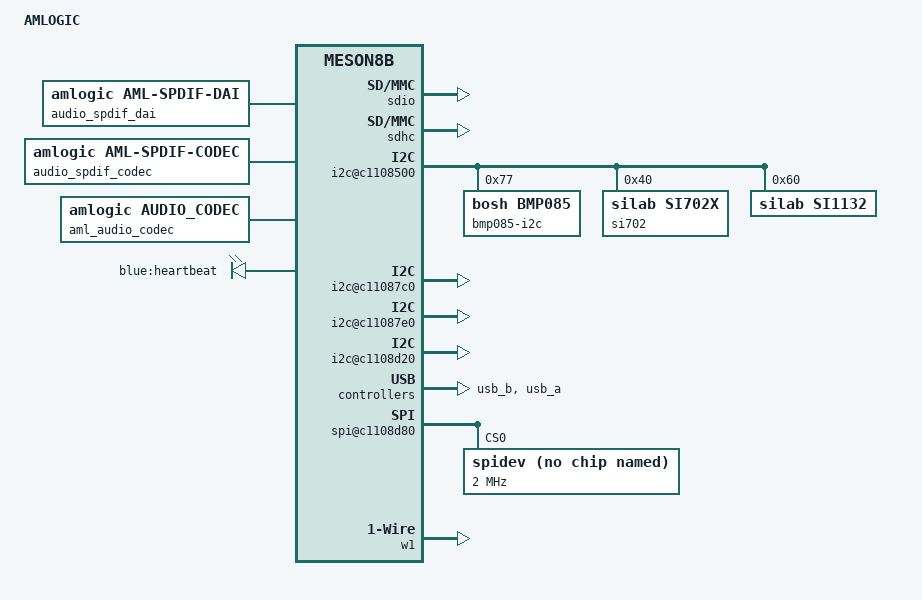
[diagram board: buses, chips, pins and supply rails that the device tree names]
/*
 * (C) Copyright 2014 Hardkernel Co,.Ltd
 *
 * See file CREDITS for list of people who contributed to this
 * project.
 *
 * This program is free software; you can redistribute it and/or
 * modify it under the terms of the GNU General Public License as
 * published by the Free Software Foundation; either version 2 of
 * the License, or (at your option) any later version.
 *
 * This program is distributed in the hope that it will be useful,
 * but WITHOUT ANY WARRANTY; without even the implied warranty of
 * MERCHANTABILITY or FITNESS FOR A PARTICULAR PURPOSE.  See the
 * GNU General Public License for more details.
 *
 * You should have received a copy of the GNU General Public License
 * along with this program; if not, write to the Free Software
 * Foundation, Inc., 59 Temple Place, Suite 330, Boston,
 * MA 02111-1307 USA
 */
/dts-v1/;
/{
    compatible = "AMLOGIC,8726_M8B";
    model = "AMLOGIC";
    interrupt-parent = <&gic>;
    #address-cells = <1>;
    #size-cells = <1>;

    cpus {
        #address-cells = <1>;
        #size-cells = <0>;
        cpu@0 {
            device_type = "cpu";
            compatible = "arm,cortex-a5";
            reg = <0x200>;
        };
        cpu@1 {
            device_type = "cpu";
            compatible = "arm,cortex-a5";
            reg = <0x1>;
        };
        cpu@2 {
            device_type = "cpu";
            compatible = "arm,cortex-a5";
            reg = <0x2>;
        };
        cpu@3 {
            device_type = "cpu";
            compatible = "arm,cortex-a5";
            reg = <0x3>;
        };
    };

    cache-controller {
        compatible = "arm,meson-pl310-cache";
        reg = <0xc4200000 0x1000>;
        arm,data-latency = <3 3 3>;
        arm,tag-latency = <2 2 2>;
        arm,filter-ranges = <0x100000 0xc0000000>;
        cache-unified;
        cache-level = <2>;
        aux-instruction_prefetch;
        aux-data_prefetch;
        aux-ns_lockdown;
        aux-force_no_write_alloc;
        aux-cache_replace_policy_round_robin;
        aux-early_write_response;
        aux-full_line_of_zero;
        aux-ns_int_ctrl;
        aux-share_override;
        prefetch-double_line_fill;
        prefetch-prefetch_drop;
        prefetch-prefetch_offset = <7>;
    };

    memory {
        device_type = "memory";
        aml_reserved_start = <0x06000000>;
        aml_reserved_end = <0x05000000>;
        phys_offset = <0x00200000>;
        linux,total-memory = <0x3fe00000>;
        #address-cells = <1>;
        #size-cells = <1>;

        cma_0:region@0 {
          region_name = "cma_0";
          reg = <0 0x02a00000>;
          linux,contiguous-region;
        };
    };

    gic:interrupt-controller {
        compatible = "arm,cortex-a9-gic";
        reg = <0xc4301000 0x1000
               0xc4300100 0x0100>;
        interrupt-controller;
        #interrupt-cells = <3>;
        #address-cells = <0>;
    };

    vpu {
        compatible = "amlogic,vpu";
        dev_name = "vpu";
        status = "ok";
        clk_level = <3>;
    };

    mesonfb {
        compatible = "amlogic,mesonfb";
        dev_name = "mesonfb";
        status = "okay";
        reserve-memory = <0x01800000 0x00100000>;
        reserve-iomap = "true";
        vmode = <3>;
        scale_mode = <1>;
        4k2k_fb = <0>;
        display_size_default = <1920 1080 1920 3240 32>;
    };

    deinterlace {
        compatible = "amlogic,deinterlace";
        dev_name = "deinterlace";
        status = "ok";
        reserve-memory = <0x02100000>;  //10x1920x1088x3/2=33M
    };

    mesonstream {
        compatible = "amlogic,mesonstream";
        dev_name = "mesonstream.0";
        status = "okay";
        reserve-memory = <0x02000000>; // 32M
        reserve-iomap = "true";
    };

    vdec {
        compatible = "amlogic,vdec";
        dev_name = "vdec.0";
        status = "okay";
        reserve-memory = <0x04000000>; // 64M
        reserve-iomap = "true";
    };

    ppmgr {
        compatible = "amlogic,ppmgr";
        dev_name = "ppmgr";
        status = "okay";
        reserve-memory = <0x01000000>; // 16M
    };

    amvenc_avc {
        compatible = "amlogic,amvenc_avc";
        dev_name = "amvenc_avc.0";
        status = "okay";
        linux,contiguous-region = <&cma_0>;
        reserve-iomap = "true";
    };

    ion_dev {
        compatible = "amlogic,ion_dev";
        dev_name = "ion_dev";
        status = "ok";
        share-memory-name = "ppmgr0";
        share-memory-offset = <0>;
        share-memory-size = <0x01000000>; //16M
    };

    mesonvout {
        compatible = "amlogic,mesonvout";
        dev_name = "mesonvout";
        status = "okay";
    };

    rtc {
        compatible = "amlogic,aml_rtc";
        status = "okay";
    };

    uart_ao {
        compatible = "amlogic,aml_uart";
        port_name = "uart_ao";
        status = "okay";
        dev_name = "uart_ao";
        pinctrl-names = "default";
        pinctrl-0 = <&ao_uart_pins>;
    };

    uart_1 {
        compatible = "amlogic,aml_uart";
        port_name = "uart_b";
        status = "okay";
        dev_name = "uart_1";
        pinctrl-names = "default";
        pinctrl-0 = <&b_uart_pins>;
    };

    sdio {
        compatible = "amlogic,aml_sdio";
        dev_name = "aml_sdio.0";
        status = "okay";
        reg = <0xc1108c20 0x20>;
        pinctrl-names = "sd_clk_cmd_pins",
                        "sd_all_pins",
                        "emmc_clk_cmd_pins",
                        "emmc_all_pins",
                        "sdio_clk_cmd_pins",
                        "sdio_all_pins",
                        "sd_1bit_pins";
        pinctrl-0 = <&sd_clk_cmd_pins>;
        pinctrl-1 = <&sd_all_pins>;
        pinctrl-2 = <&emmc_clk_cmd_pins>;
        pinctrl-3 = <&emmc_all_pins>;
        pinctrl-4 = <&sdio_clk_cmd_pins>;
        pinctrl-5 = <&sdio_all_pins>;
        pinctrl-6 = <&sd_1bit_pins>;

        emmc {
            status = "okay";
            port = <2>;
            pinname = "emmc";
            ocr_avail = <0x200000>;
            caps = "MMC_CAP_4_BIT_DATA",
                   "MMC_CAP_MMC_HIGHSPEED",
                   "MMC_CAP_SD_HIGHSPEED",
                   "MMC_CAP_NONREMOVABLE",
                   "MMC_CAP_ERASE",
                   "MMC_CAP_HW_RESET";
            caps2 = "MMC_CAP2_BOOTPART_NOACC";
            f_min = <300000>;
            f_max = <50000000>;
            f_max_w = <50000000>;
            max_req_size = <0x20000>;   /* 128KB */
            gpio_dat3 = "BOOT_3";
            card_type = <1>;
        };

        sd {
            status = "okay";
            port = <1>;
            pinname = "sd";
            ocr_avail = <0x200000>;
            caps = "MMC_CAP_4_BIT_DATA",
                   "MMC_CAP_MMC_HIGHSPEED",
                   "MMC_CAP_SD_HIGHSPEED";
            f_min = <300000>;
            f_max = <50000000>;
            f_max_w = <50000000>;
            max_req_size = <0x20000>;   /* 128KB */
            gpio_dat3 = "CARD_4";
            gpio_cd = "CARD_6";
            gpio_volsw = "GPIOAO_3";
            irq_in = <3>;
            irq_out = <5>;
            card_type = <5>;
        };
    };

    sdhc {
        compatible = "amlogic,aml_sdhc";
        dev_name = "aml_sdhc.0";
        status = "okay";
        reg = <0xc1108e00 0x3c>;
        pinctrl-names = "sdhc_sd_clk_cmd_pins",
                        "sdhc_sd_all_pins",
                        "sdhc_emmc_clk_cmd_pins",
                        "sdhc_emmc_all_pins",
                        "sdhc_sdio_clk_cmd_pins",
                        "sdhc_sdio_all_pins";
        pinctrl-0 = <&sdhc_sd_clk_cmd_pins>;
        pinctrl-1 = <&sdhc_sd_all_pins>;
        pinctrl-2 = <&sdhc_emmc_clk_cmd_pins>;
        pinctrl-3 = <&sdhc_emmc_all_pins>;
        pinctrl-4 = <&sdhc_sdio_clk_cmd_pins>;
        pinctrl-5 = <&sdhc_sdio_all_pins>;

        sd {
            status = "okay";
            port = <4>;
            pinname = "sd";
            ocr_avail = <0x00200080>;
            caps = "MMC_CAP_4_BIT_DATA",
                   "MMC_CAP_MMC_HIGHSPEED",
                   "MMC_CAP_SD_HIGHSPEED",
                   "MMC_CAP_UHS_SDR12",
                   "MMC_CAP_UHS_SDR25",
                   "MMC_CAP_UHS_SDR50",
                   "MMC_CAP_UHS_SDR104";
            f_min = <300000>;
            f_max = <100000000>;
            max_req_size = <0x20000>;   /* 128KB */
            gpio_dat3 = "CARD_4";
            gpio_cd = "CARD_6";
            gpio_volsw = "GPIOAO_3";
            irq_in = <3>;
            irq_out = <5>;
            card_type = <5>;
        };

        emmc {
            status = "okay";
            port = <5>;
            pinname = "emmc";
            ocr_avail = <0x200000>;
            caps = "MMC_CAP_8_BIT_DATA",
                   "MMC_CAP_MMC_HIGHSPEED",
                   "MMC_CAP_SD_HIGHSPEED",
                   "MMC_CAP_NONREMOVABLE",
                   "MMC_CAP_ERASE",
                   "MMC_CAP_HW_RESET";
            caps2 = "MMC_CAP2_HS200_1_8V_SDR", "MMC_CAP2_BOOTPART_NOACC";
            f_min = <300000>;
            f_max = <150000000>;
            max_req_size = <0x20000>;   /* 128KB */
            gpio_dat3 = "BOOT_3";
            card_type = <1>;
        };
    };

    i2c@c1108500{
        compatible = "amlogic,aml_i2c";
        #address-cells = <1>;
        #size-cells = <0>;
        dev_name = "i2c-A";
        status = "ok";
        reg = <0xc1108500 0x20>;
        device_id = <1>;
        pinctrl-names="default";
        pinctrl-0 = <&a_i2c_master>;
        use_pio = <0>;
        master_i2c_speed = <100000>;

        bmp085-i2c@77 {
            compatible = "bosh,bmp085";
            reg = <0x77>;
        };

        si702@40 {
            compatible = "silab,si702x";
            reg = <0x40>;
        };

        si1132@60 {
            compatible = "silab,si1132";
            reg = <0x60>;
        };

    };

    i2c@c11087c0{
        compatible = "amlogic,aml_i2c";
        #address-cells = <1>;
        #size-cells = <0>;
        dev_name = "i2c-B";
        status = "ok";
        reg = <0xc11087c0 0x20>;
        device_id = <2>;
        pinctrl-names="default";
        pinctrl-0 = <&b_i2c_master>;
        use_pio = <0>;
        master_i2c_speed = <100000>;
    };

    i2c@c11087e0{
        compatible = "amlogic,aml_i2c";
        #address-cells = <1>;
        #size-cells = <0>;
        dev_name = "i2c-C";
        status = "ok";
        reg = <0xc11087e0 0x20>;
        device_id = <3>;
        pinctrl-names="default";
        //              pinctrl-0 = <&c_i2c_master>;
        use_pio = <0>;
        master_i2c_speed = <300000>;
    };

    i2c@c1108d20{
        compatible = "amlogic,aml_i2c";
        #address-cells = <1>;
        #size-cells = <0>;
        dev_name = "i2c-D";
        status = "ok";
        reg = <0xc1108d20 0x20>;
        device_id = <4>;
        pinctrl-names="default";
        //              pinctrl-0 = <&d_i2c_master>;
        use_pio = <0>;
        master_i2c_speed = <300000>;
    };

    dvfs {
        compatible = "amlogic, amlogic-dvfs";
        #address-cells = <1>;
        #size-cells = <0>;
        status = "ok";

        vcck_dvfs {
            dvfs_id = <1>;
            table_count = <15>;
            change-frequent-only;
            /* NOTE: frequent in this table must be ascending order */
            /*             frequent(Khz)    min_uV      max_uV  */
            dvfs_table  = < 96000           825000      825000
                            192000          825000      825000
                            312000          825000      825000
                            408000          825000      825000
                            504000          825000      825000
                            600000          825000      825000
                            720000          825000      825000
                            816000          850000      850000
                           1008000          875000      875000
                           1200000          925000      925000
                           1320000         1100000     1100000
                           1488000         1100000     1100000
                           1536000         1140000     1140000
                           1632000         1150000     1150000
                           1728000         1160000     1160000 >;
        };
    };

    arm_pmu {
        compatible = "arm,cortex-a9-pmu";
        status = "ok";
        interrupts = < 0 137 0x04
                       0 138 0x04
                       0 153 0x04
                       0 154 0x04 >;
    };


    usb_con {
        lm-compatible = "logicmodule-bus";

        usb_b {
            lm-compatible = "amlogic,usb";
            lm-periph-id = <1>;
            clock-src = "usb1";
            port-id = <1>;
            port-type = <1>;
            port-speed = <0>;
            port-config = <0>;
            port-dma = <0>;
            port-id-mode = <1>;
            gpio-hub-rst = "GPIOAO_4";
            status = "okay";
        };

        usb_a {
            lm-compatible = "amlogic,usb";
            lm-periph-id = <0>;
            clock-src = "usb0";
            port-id = <0>;
            port-type = <0>;
            port-speed = <0>;
            port-config = <0>;
            port-dma = <0>;
            port-id-mode = <0>;
            gpio-vbus-power = "GPIOAO_5";
            gpio-work-mask  = <1>;
            status = "okay";
        };
    };

    audio_platform {
        compatible = "amlogic,aml-i2s";
        dev_name = "aml-i2s.0";
        status = "okay";
    };

    audio_dai {
        compatible = "amlogic,aml-i2s-dai";
        dev_name = "aml-i2s-dai.0";
        status = "okay";
    };

    audio_spdif_dai {
        compatible = "amlogic,aml-spdif-dai";
        dev_name = "aml-spdif-dai.0";
        status = "okay";
    };

    audio_spdif_codec {
        compatible = "amlogic,aml-spdif-codec";
        dev_name = "spdif-dit.0";
        pinctrl-names = "aml_audio_spdif";
        status = "okay";
    };

    audio_pcm_dai {
        compatible = "amlogic,aml-pcm-dai";
        dev_name = "aml-pcm-dai.0";
        status = "okay";
    };

    audio_pcm {
        compatible = "amlogic,aml-pcm";
        dev_name = "aml-pcm.0";
        status = "okay";
    };

    dummy_codec {
        compatible = "amlogic,aml_dummy_codec";
        dev_name = "dummy_codec.0";
        status = "okay";
    };

    aml_audio_codec {
        compatible = "amlogic,audio_codec";
        dummy:dummy {
            codec_name = "dummy_codec";
            status = "okay";
        };
    };

    aml_m8_sound_card {
        compatible = "sound_card, aml_snd_m8";
        aml,sound_card = "AML-M8AUDIO";
        aml,codec_dai = "AML-M8", "dummy_codec";
        aml,audio-routing-amlm8 = "Ext Spk", "LINEOUTL",
                                "Ext Spk", "LINEOUTR",
                                "HP", "HP_L",
                                "HP", "HP_R";
        aml,audio-routing-dummy= "Ext Spk", "LOUTL",
                                "Ext Spk", "LOUTR";
        sleep_time = <130>;
        pinctrl-names = "aml_snd_m8";
        pinctrl-0 = <&audio_pins>;
        status = "okay";
    };

    saradc {
        compatible = "amlogic,saradc";
        status = "okay";
    };

    spi@c1108d80 {
        #address-cells = <1>;
        #size-cells = <0>;
        compatible = "amlogic,spicc";
        dev_name = "spicc";
        status = "okay";
        reg = <0xc1108d80 0x28>;
        pinctrl-names="default";
        pinctrl-0=<&aml_spicc_pins>;
        device_id = <0>;
        num_chipselect = <2>;
        cs_gpios = "GPIOX_20", "GPIOX_21";

        spidev@0 {
            spi-max-frequency = <2000000>;
            compatible = "spidev";
            reg = <0>;
        };
    };

    meson-remote{
        compatible = "amlogic,aml_remote";
        dev_name = "meson-remote";
        status = "ok";
        ao_baseaddr = <0xf3100480>;
        pinctrl-names="default";
        pinctrl-0 = <&remote_pins>;
    };

    efuse{
        compatible = "amlogic,efuse";
        dev_name = "efuse";
        status = "okay";
        plat-pos = <0 454>;
        plat-count = <58>;
        usid-min = <8>;
        usid-max = <31>;
    };

    thermal{
        compatible = "amlogic-thermal";
        #thermal-cells = <7>;
        dev_name = "aml_thermal";
        trip_point = <70 1488001 1488001 511 511 3 2
                      80 1200001 1200001 435 435 2 2
                      90  800001  800001 328 328 1 1
                     110 0xffffffff 0xffffffff 0xffffffff 0xffffffff 0xffffffff 0xffffffff>;
        cpu_cali_a = <0>;
        idle_interval = <1000>;
        use_virtual_thermal;
        freq_sample_period = <30>;
        report_time = <1 10 30 60>;
        cpu_virtual = <500000 40 40 40 40
                       600000 45 55 60 65
                       800000 50 60 65 70
                      1000000 55 65 70 75
                      1200000 60 70 75 80
                      1350000 65 75 80 85 >;
        gpu_virtual = <183 40 40 40 40
                       251 40 45 50 55
                       319 50 60 65 70
                       426 55 65 70 75
                       511 60 70 75 80 >;
    };

    amhdmitx{
        compatible = "amlogic,amhdmitx";
        dev_name = "amhdmitx";
        status = "ok";
        vend-data = <&vend_data>;
        pwr-ctrl = <&pwr_ctrl>;

        vend_data: vend_data{
               vendor_name = "Hardkernel";
               vendor_id = <0x000000>;
               product_desc = "ODROID-C1";
               cec_osd_string = "ODROID";
               cec_config = <0x00000f>;
               ao_cec = <0x000001>;
        };

        pwr_ctrl: pwr_ctrl{
              pwr_5v_on = "";
              pwr_5v_off = "";
              pwr_3v3_on = "";
              pwr_3v3_off = "";
              pwr_hpll_vdd_on = "";
              pwr_hpll_vdd_off = "";
        };
    };

    aml_pm{
        compatible = "amlogic,pm-m8";
        dev_name = "aml_pm_m8";
        status = "okay";
    };

    cpufreq-meson{
        compatible = "amlogic,cpufreq-meson";
        syspll_fixed;
        status = "okay";
    };

    gpio:gpio{
        compatible = "amlogic,m8b-gpio";
        #gpio-cells = <2>;
        dev_name = "gpio";
    };

    pinmux{
        compatible = "amlogic,pinmux-m8b";
        #pinmux-cells = <2>;
        dev_name = "pinmux";

        ao_uart_pins:ao_uart{
            amlogic,setmask = <10 0x1800>;
            amlogic,pins="GPIOAO_0", "GPIOAO_1";
            amlogic,pullup=<1>;
            amlogic,pullupen=<1>;
        };

        b_uart_pins:b_uart{
            amlogic,setmask = <4 0x0300>;
            amlogic,pins="GPIOX_16", "GPIOX_17";
        };

        nand_input_state:nand_input {
            amlogic,pins = "BOOT_0", "BOOT_1", "BOOT_2", "BOOT_3",
                           "BOOT_4", "BOOT_5", "BOOT_6", "BOOT_7",
                           "BOOT_12", "BOOT_13", "BOOT_8", "BOOT_9",
                           "BOOT_10", "BOOT_11", "BOOT_14", "BOOT_15",
                           "BOOT_16", "BOOT_17";
            amlogic,enable-output = <1>;
        };

        conf_nand_state: conf_nand {
            amlogic,pins = "BOOT_0", "BOOT_1", "BOOT_2", "BOOT_3",
                           "BOOT_4", "BOOT_5", "BOOT_6", "BOOT_7",
                           "BOOT_15";
            amlogic,pullup = <0>;
        };

        nand_base: nand {
            amlogic,setmask = <2 0x07fe0000>;
            amlogic,clrmask = <5 0x0000000e
                               6 0x3f000000
                               4 0x7c000000>;
            amlogic,pins = "BOOT_0", "BOOT_1", "BOOT_2", "BOOT_3",
                           "BOOT_4", "BOOT_5", "BOOT_6", "BOOT_7",
                           "BOOT_8", "BOOT_9", "BOOT_10", "BOOT_12",
                           "BOOT_13", "BOOT_14", "BOOT_15", "BOOT_16",
                           "BOOT_17";
        };

        sdhc_b_pins:sdhc_b_pin {
            amlogic,setmask = <2 0x0000fc00>;
            amlogic,clrmask = <2 0x000000f0
                               8 0x00000600>;
            amlogic,pins = "CARD_0", "CARD_1", "CARD_2", "CARD_3",
                           "CARD_4", "CARD_5";
        };

        sdhc_c_pins:sdhc_c_pin {
            amlogic,setmask = <6 0x3f000000>;
            amlogic,clrmask = <4 0x6c000000
                               2 0x4c00000>;
            amlogic,pins = "BOOT_0", "BOOT_1", "BOOT_2", "BOOT_3",
                           "BOOT_10", "BOOT_11";
        };

        sdhc_a_pins:sdhc_a_pin {
            amlogic,setmask = <8 0x0000003f>;
            amlogic,clrmask = <5 0x00006c00 >;
            amlogic,pins = "GPIOX_0", "GPIOX_1", "GPIOX_2", "GPIOX_3",
                           "GPIOX_8", "GPIOX_9";
        };

        sdio_all_pins:sdio_all_pins {
            amlogic,setmask = <8 0x0000003f>;
            amlogic,clrmask = <6 0x3f000000
                               2 0x0000fc00
                               5 0x00006c00>;
            amlogic,pins = "GPIOX_0", "GPIOX_1", "GPIOX_2", "GPIOX_3",
                           "GPIOX_8", "GPIOX_9";
            amlogic,enable-output = <1>; /** 0:output, 1:input */
            amlogic,pullup = <1>;
            amlogic,pullupen = <1>;
        };

        sdio_clk_cmd_pins:sdio_clk_cmd_pins {
            amlogic,setmask = <8 0x00000003>;
            amlogic,clrmask = <6 0x3f000000
                               2 0x0000fc00
                               5 0x00006c00>;
            amlogic,pins = "GPIOX_8", "GPIOX_9";
            amlogic,enable-output = <1>;
            amlogic,pullup = <1>;
            amlogic,pullupen = <1>;
        };

        sd_all_pins:sd_all_pins {
            amlogic,setmask = <2 0x0000fc00>;
            amlogic,clrmask = <6 0x3f000000
                               8 0x0000063f
                               2 0x000000f0>;
            amlogic,pins = "CARD_0", "CARD_1", "CARD_2", "CARD_3",
                           "CARD_4", "CARD_5";
            amlogic,enable-output = <1>; /* 0:output, 1:input */
            amlogic,pullup = <1>;
            amlogic,pullupen = <1>;
        };

        sd_1bit_pins:sd_1bit_pins {
            amlogic,setmask = <2 0x00008c00>;
            amlogic,clrmask = <6 0x3f000000
                               8 0x0000003f
                               2 0x000000f0>;
            amlogic,pins = "CARD_0", "CARD_1", "CARD_2", "CARD_3",
                           "CARD_4", "CARD_5";
            amlogic,enable-output = <1>; /* 0:output, 1:input */
            amlogic,pullup = <1>;
            amlogic,pullupen = <1>;
        };

        sd_clk_cmd_pins:sd_clk_cmd_pins {
            amlogic,setmask = <2 0x00000c00>;
            amlogic,clrmask = <6 0x3f000000
                               8 0x0000003f
                               2 0x000000f0>;
            amlogic,pins = "CARD_2", "CARD_3";
            amlogic,enable-output = <1>;
            amlogic,pullup = <1>;
            amlogic,pullupen = <1>;
        };

        emmc_all_pins:emmc_all_pins {
            amlogic,setmask = <6 0xfc000000>;
            amlogic,clrmask = <2 0x06c2fc00
                               8 0x0000003f
                               4 0x6c000000>;
            amlogic,pins = "BOOT_0", "BOOT_1", "BOOT_2", "BOOT_3",
                           "BOOT_8", "BOOT_10";
            amlogic,enable-output = <1>; /** 0:output, 1:input */
            amlogic,pullup = <1>;
            amlogic,pullupen = <1>;
        };

        emmc_clk_cmd_pins:emmc_clk_cmd_pins {
            amlogic,setmask = <6 0xc0000000>;
            amlogic,clrmask = <2 0x06c2fc00
                               8 0x0000003f
                               7 0x000c0000>;
            amlogic,pins = "BOOT_8", "BOOT_10";
            amlogic,enable-output = <1>;
            amlogic,pullup = <1>;
            amlogic,pullupen = <1>;
        };

        sdhc_sd_clk_cmd_pins:sdhc_sd_clk_cmd_pins {
            amlogic,setmask = <2 0x00000030>;
            amlogic,clrmask = <5 0x00007c00
                               4 0x7c000000
                               2 0x0000fc00
                               8 0x00000600>;
            amlogic,pins = "CARD_2", "CARD_3";
            amlogic,enable-output = <1>;
            amlogic,pullup = <1>;
            amlogic,pullupen = <1>;
        };

        sdhc_sd_all_pins:sdhc_sd_all_pins {
            amlogic,setmask = <2 0x000000f0>;
            amlogic,clrmask = <5 0x00007c00
                               4 0x7c000000
                               2 0x0000fc00
                               8 0x00000600>;
            amlogic,pins="CARD_0", "CARD_1", "CARD_2", "CARD_3",
                         "CARD_4", "CARD_5";
            amlogic,enable-output = <1>;
            amlogic,pullup = <1>;
            amlogic,pullupen = <1>;
        };

        sdhc_emmc_clk_cmd_pins:sdhc_emmc_clk_cmd_pins {
            amlogic,setmask = <7 0xc0000>;
            amlogic,clrmask = <2 0x04c000f0
                               5 0x00007c00
                               6 0xff000000>;
            amlogic,pins = "BOOT_8", "BOOT_10";
            amlogic,enable-output = <1>;
            amlogic,pullup = <1>;
            amlogic,pullupen = <1>;
        };

        sdhc_emmc_all_pins:sdhc_emmc_all_pins {
            amlogic,setmask = <4 0x70000000
                               7 0xc0000>;
            amlogic,clrmask = <2 0x04c000f0
                               5 0x00007c00
                               6 0xff000000>;
            amlogic,pins = "BOOT_0", "BOOT_1", "BOOT_2", "BOOT_3",
                           "BOOT_4", "BOOT_5", "BOOT_6", "BOOT_7",
                           "BOOT_8", "BOOT_10";
            amlogic,enable-output = <1>; /** 0:output, 1:input */
            amlogic,pullup = <1>;
            amlogic,pullupen = <1>;
        };

        sdhc_sdio_clk_cmd_pins:sdhc_sdio_clk_cmd_pins {
            amlogic,setmask = <5 0x00000c00>;
            amlogic,clrmask = <2 0x058000f0
                               4 0x7c000000
                               8 0x0000003f>;
            amlogic,pins = "GPIOX_8", "GPIOX_9";
            amlogic,enable-output = <1>; /** 0:output, 1:input */
            amlogic,pullup = <1>;
            amlogic,pullupen = <1>;
        };

        sdhc_sdio_all_pins:sdhc_sdio_all_pins {
            amlogic,setmask = <5 0x00006c00>;
            amlogic,clrmask = <2 0x058000f0
                               4 0x7c000000
                               8 0x0000003f>;
            amlogic,pins = "GPIOX_0", "GPIOX_1", "GPIOX_2", "GPIOX_3",
                           "GPIOX_8", "GPIOX_9";
            amlogic,enable-output = <1>; /** 0:output, 1:input */
            amlogic,pullup = <1>;
            amlogic,pullupen = <1>;
        };

        ao_i2c_master:ao_i2c {
            amlogic,setmask = <10 0x60>;
            amlogic,clrmask = <10 0x1800006>;
            amlogic,pins="GPIOAO_4", "GPIOAO_5";
        };

        a_i2c_master:a_i2c {
            amlogic,setmask = <9 0xC0000000>;
            amlogic,clrmask = <0 0x3C0300
                     6 0xC00000
                     8 0x1800000>;
            amlogic,pins="GPIODV_24", "GPIODV_25";
        };

        b_i2c_master:b_i2c {
            amlogic,setmask = <9 0x30000000>;
            amlogic,clrmask = <0 0x480
                     6 0x300000
                     8 0x10780000>;
            amlogic,pins="GPIODV_26", "GPIODV_27";
        };

        remote_pins:remote_pin {
            amlogic,setmask = <10 0x1>;
            amlogic,pins="GPIOAO_7";
        };

        audio_pins:audio_pin {
            amlogic,setmask = <10 0x78000000>;
            amlogic,pins = "GPIOAO_8", "GPIOAO_9", "GPIOAO_10", "GPIOAO_11";
        };

        aml_spi_nor_pins: aml_spi_nor_pins {
            amlogic,setmask = <5 0xf>;
            amlogic,clrmask = <2 0x380000>;
            amlogic,pins = "BOOT_11", "BOOT_12", "BOOT_13", "BOOT_18";
        };

        aml_spicc_pins: aml_spicc_pins{
            amlogic,setmask=<4 0x03c00000>;
            amlogic,clrmask=<3 0x004003C0
                            5 0x00000C00
                            6 0x000F0000
                            7 0x80000000
                            8 0x00000003
                            9 0x00080000>;
            amlogic,pins = "GPIOX_8","GPIOX_9","GPIOX_10";
        };

        odroid_pwm0:odroid_pwm0{
            amlogic,setmask=<2 0x00000008>;     /*GPIOX_11 PWM_B Reg2[3]*/
            amlogic,clrmask=<3 0x00100000
                             7 0x40000000>;
            amlogic,pins="GPIOX_11";
        };

        odroid_pwm1:odroid_pwm1{
            amlogic,setmask=<2 0x00000008       /*GPIOX_11 PWM_B Reg2[3]*/
                             9 0x00080000>;     /*GPIOX_10 PWM_E Reg9[19]*/
            amlogic,clrmask=<3 0x00500100
                             4 0x00800000
                             6 0x00020000
                             7 0xc0000000>;
            amlogic,pins="GPIOX_11","GPIOX_10";
        };
    };

    meson-eth {
        compatible = "amlogic,meson-eth";
        dev_name = "meson-eth";
        status = "okay";
        ethbaseaddr = <0xfe0c0000>;
        interruptnum = <40>;
        savepowermode = <0>;
        phy_interface = <0>;
        new_maclogic = <1>;
        reset_pin_enable = <0>;
        reset_pin = "GPI0H_4";
        reset_delay = <100>;
        disable_phyrefclk;
    };

    odroid_sysfs {
        compatible = "odroid-sysfs";
    };

    leds {
        compatible = "gpio-leds";
        /* Blue LED */
        hearbeat {
            label = "blue:heartbeat";
            gpios = "GPIOAO_13";
            default-state = "off";
            linux,default-trigger = "heartbeat";
        };
    };

    pwm{
        compatible = "amlogic, odroid-pwm";
        dev_name = "meson_pwm";
        status = "ok";
        pinctrl-names = "odroid_pwm0","odroid_pwm1";
        pinctrl-0 = <&odroid_pwm0>;
        pinctrl-1 = <&odroid_pwm1>;
    };

    pwm-ctrl {
        compatible = "amlogic, pwm-ctrl";
        dev_name = "pwm-ctrl";
        status = "ok";
    };

    w1 {
        compatible = "w1-gpio";
        dev_name = "w1";
        status = "ok";
        gpios = "GPIOY_3";
        // linux,open-drain; // .is_open_drain = 1;
    };
}; /* end of / */

/* vim: set ts=4 sw=4 tw=80:*/
